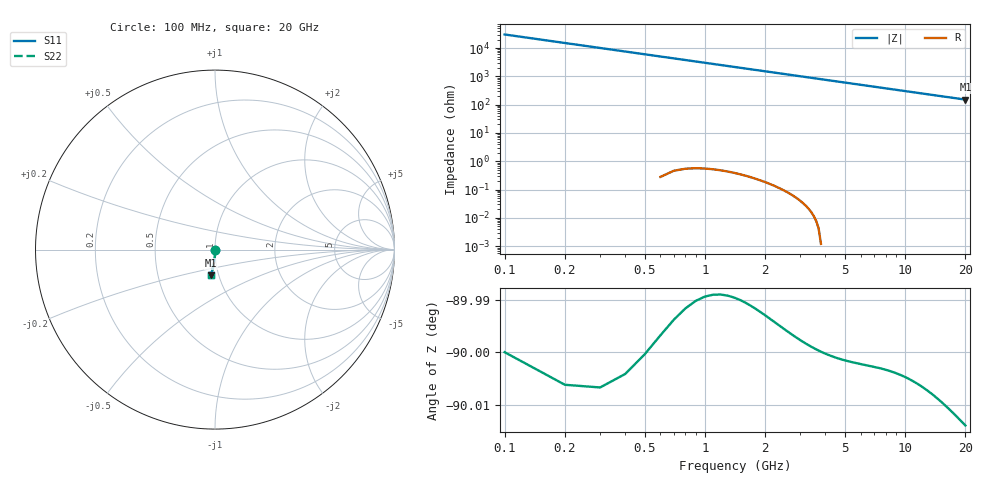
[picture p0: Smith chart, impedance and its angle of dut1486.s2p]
! Touchstone file exported from HFSS 2026.1.0
!  File:  C:/ffzhzh/LocalFiles/Ansys_Project_Files/temp_train_TSV_1486_1783198690_55132.aedt
!  Generated:  04:59:32 AM Jul  5, 2026
!  Design:  TSV
!  Project:  temp_train_TSV_1486_1783198690_55132
! Variables:
!  h_bsmrdl = 2um
!  h_ox = 20um
!  h_rdl = 5um
!  h_sub = 68.89um
!  h_tmrdl = 5um
!  h_tsv = 68.89um
!  h_via = 3um
!  l_bsmrdl = 300um
!  l_sub = 417.44um
!  l_tmrdl = 200um
!  m_sub = 200um
!  pitch = 19.03um
!  r_tsv = 8.72um
!  s_tmrdl = 10um
!  w_bsmrdl = 18um
!  w_sub = 500um
!  w_tmrdl = 12um
!  x_tsv_center1 = 206um
!  x_tsv_center2 = 524um
!  x_tsv_center3 = 736um
!  x_tsv_center4 = 1054um
!  x_tsv_center5 = 1266um
!  x_tsv_center6 = 1584um
# GHz S MA R 50.000000
! Terminal data exported
! Port[1] = TSV1_1_T1
! Port[2] = TSV1_1_T2
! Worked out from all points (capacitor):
!   200 points, 100 MHz to 20 GHz, reference 50 ohm
!   read as one part in shunt: C = 52.8 fF near 200 MHz
!   lowest |Z| = 151 ohm at 20 GHz (marker M1)
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0.1  0.0006719 -75.8  0.9998 -0.1  0.9998 -0.1  0.0006719 -75.8
! Gamma 0 0 0 0
! Port Impedance 50 0 50 0
0.2  0.001327 -81.6  0.9998 -0.1  0.9998 -0.1  0.001327 -81.6
0.3  0.002002 -83.4  0.9998 -0.2  0.9998 -0.2  0.002002 -83.4
0.4  0.002695 -84.2  0.9997 -0.2  0.9997 -0.2  0.002695 -84.2
0.5  0.0034 -84.8  0.9997 -0.3  0.9997 -0.3  0.0034 -84.8
0.7  0.004832 -85.7  0.9996 -0.4  0.9996 -0.4  0.004832 -85.7
0.8  0.005554 -86.0  0.9996 -0.4  0.9996 -0.4  0.005554 -86.0
1  0.007002 -86.7  0.9995 -0.5  0.9995 -0.5  0.007002 -86.7
1.2  0.008452 -87.2  0.9994 -0.7  0.9994 -0.7  0.008452 -87.2
1.4  0.009902 -87.6  0.9994 -0.8  0.9994 -0.8  0.009902 -87.6
1.7  0.01207 -88.1  0.9993 -0.9  0.9993 -0.9  0.01207 -88.1
2  0.01425 -88.6  0.9993 -1.1  0.9993 -1.1  0.01425 -88.6
2.7  0.01932 -89.3  0.9991 -1.5  0.9991 -1.5  0.01932 -89.3
3.5  0.02513 -90.0  0.9989 -1.9  0.9989 -1.9  0.02513 -90.0
4.2  0.03022 -90.5  0.9986 -2.3  0.9986 -2.3  0.03022 -90.5
5  0.03605 -91.1  0.9983 -2.7  0.9983 -2.7  0.03605 -91.1
6.8  0.04919 -92.2  0.9976 -3.6  0.9976 -3.6  0.04919 -92.2
8.3  0.06014 -93.1  0.9968 -4.4  0.9968 -4.4  0.06014 -93.1
10.1  0.07326 -94.2  0.9958 -5.4  0.9958 -5.4  0.07326 -94.2
13.4  0.09722 -96.1  0.9935 -7.1  0.9935 -7.1  0.09722 -96.1
16.7  0.121 -97.9  0.9907 -8.8  0.9907 -8.8  0.121 -97.9
20  0.1445 -99.7  0.9873 -10.5  0.9873 -10.5  0.1445 -99.7
